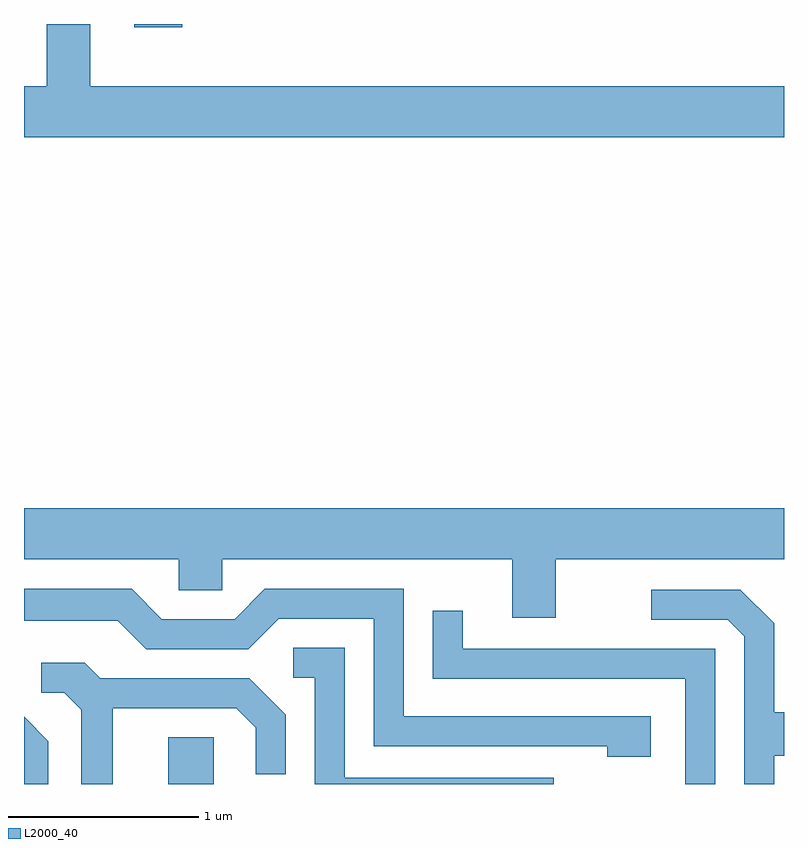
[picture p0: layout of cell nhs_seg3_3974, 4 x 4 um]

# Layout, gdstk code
import gdstk
lib = gdstk.Library(unit=1e-6, precision=1e-09)
def R(c, l, rs):  # rectangles x0, y0, x1, y1
    for r in rs: c.add(gdstk.rectangle(r[:2], r[2:], *l))
def P(c, l, *ps):  # polygons
    for p in ps: c.add(gdstk.Polygon(p, *l))
L2000_40 = (2000, 40)

nhs_seg3_3974 = lib.new_cell('nhs_seg3_3974')
R(nhs_seg3_3974, L2000_40, [(302.371,1175.892,302.609,1176.139), (302.191,1179.876,302.444,1179.892)])
P(nhs_seg3_3974, L2000_40, [(305.611,1179.564),(301.959,1179.564),(301.959,1179.892),(301.731,1179.892),(301.731,1179.564),(301.611,1179.564),(301.611,1179.296),(305.611,1179.296)],
  [(304.409,1177.076),(305.611,1177.076),(305.611,1177.344),(301.611,1177.344),(301.611,1177.076),(302.426,1177.076),(302.426,1176.911),(302.654,1176.911),(302.654,1177.076),(304.181,1177.076),(304.181,1176.766),(304.409,1176.766)],
  [(304.909,1176.249),(303.609,1176.249),(303.609,1176.919),(302.879,1176.919),(302.719,1176.759),(302.337,1176.759),(302.177,1176.919),(301.611,1176.919),(301.611,1176.751),(302.104,1176.751),(302.254,1176.601),(302.792,1176.601),(302.952,1176.761),(303.451,1176.761),(303.451,1176.091),(304.681,1176.091),(304.681,1176.036),(304.909,1176.036)],
  [(305.559,1176.041),(305.611,1176.041),(305.611,1176.269),(305.559,1176.269),(305.559,1176.737),(305.382,1176.914),(304.913,1176.914),(304.913,1176.756),(305.314,1176.756),(305.401,1176.669),(305.401,1175.892),(305.559,1175.892)],
  [(305.249,1176.604),(303.919,1176.604),(303.919,1176.803),(303.761,1176.803),(303.761,1176.446),(305.091,1176.446),(305.091,1175.892),(305.249,1175.892)],
  [(304.398,1175.924),(303.299,1175.924),(303.299,1176.609),(303.028,1176.609),(303.028,1176.451),(303.141,1176.451),(303.141,1175.892),(304.398,1175.892)],
  [(302.079,1176.291),(302.729,1176.291),(302.831,1176.189),(302.831,1175.943),(302.989,1175.943),(302.989,1176.257),(302.797,1176.449),(302.012,1176.449),(301.932,1176.529),(301.703,1176.529),(301.703,1176.371),(301.824,1176.371),(301.911,1176.284),(301.911,1175.892),(302.079,1175.892)],
  [(301.739,1176.117),(301.611,1176.245),(301.611,1175.892),(301.739,1175.892)])

lib.write_gds('nhs_seg3_3974.gds')
